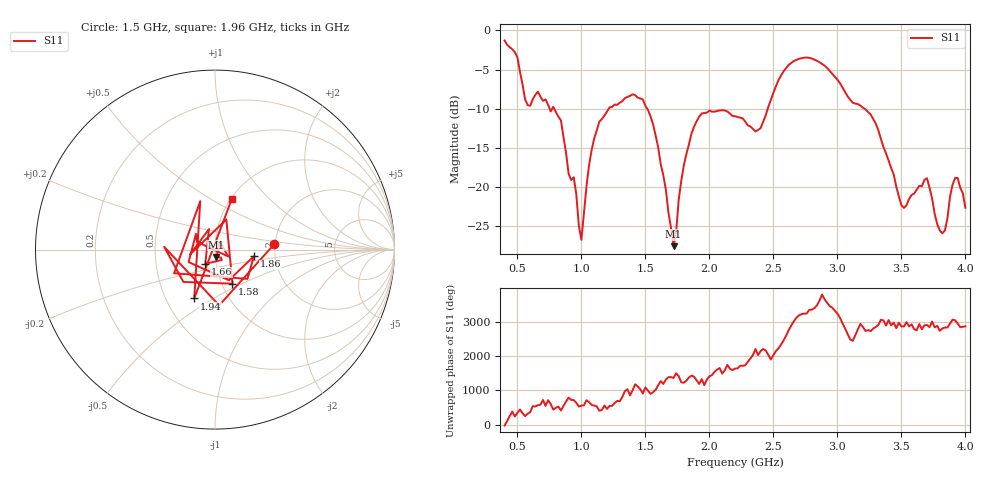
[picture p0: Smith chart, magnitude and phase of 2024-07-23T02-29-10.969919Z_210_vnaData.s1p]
!Created with skrf (http://scikit-rf.org).
# Hz S RI R 50.0
!freq ReS11 ImS11
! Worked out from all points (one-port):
!   181 points, 400 MHz to 4 GHz, reference 50 ohm
!   lowest |S11| = -27.5 dB at 1.72 GHz (marker M1), VSWR 1.09, Z = 50.6 - j4.2 ohm
!   |S11| at or under -10 dB: 788.2 MHz to 1.213 GHz (424.8 MHz wide, 42.5 % of centre); 1.515 GHz to 2.455 GHz (940.6 MHz wide, 47.4 % of centre); 3.215 GHz to end of sweep (the widest 3 of 4)
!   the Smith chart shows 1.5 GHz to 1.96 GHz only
!   S11 on the Smith chart (normalised r, x): 1.5 GHz: 1.98, +0.13; 1.58 GHz: 1.12, -0.45; 1.66 GHz: 0.89, -0.14; 1.86 GHz: 1.55, -0.12; 1.94 GHz: 0.69, -0.41; 1.96 GHz: 1.01, +0.63
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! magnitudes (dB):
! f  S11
! 400 MHz  -1.3
! 500 MHz  -3.4
! 580 MHz  -9.5
! 660 MHz  -7.8
! 860 MHz  -13.6
! 940 MHz  -18.7
! 1 GHz  -26.7
! 1.1 GHz  -13.8
! 1.3 GHz  -9.2
! 1.5 GHz  -9.6
! 1.58 GHz  -13.4
! 1.66 GHz  -20.3
! 1.72 GHz  -27.5
! 1.76 GHz  -21.6
! 1.86 GHz  -13.2
! 1.94 GHz  -10.6
! 1.96 GHz  -10.5
! 2.2 GHz  -10.9
! 2.4 GHz  -12.5
! 2.66 GHz  -3.9
! 3.1 GHz  -8.8
! 3.26 GHz  -10.7
! 3.5 GHz  -22.3
! 3.56 GHz  -21.5
! 3.7 GHz  -18.8
! 3.82 GHz  -25.9
! 3.92 GHz  -18.8
! 4 GHz  -22.6
